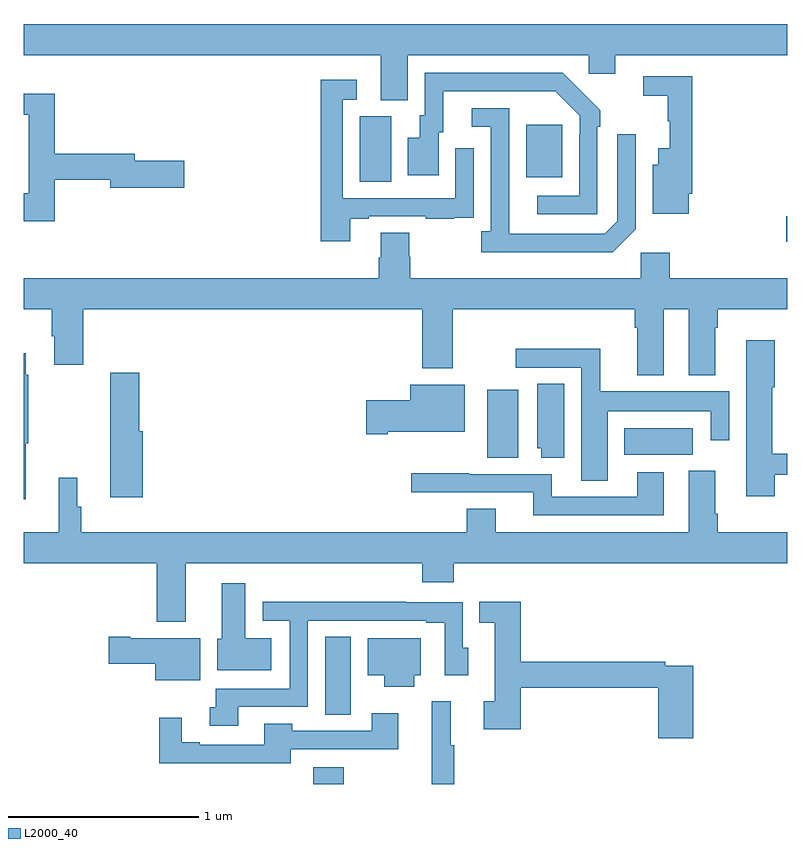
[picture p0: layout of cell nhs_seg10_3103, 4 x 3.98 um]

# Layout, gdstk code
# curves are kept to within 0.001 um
import gdstk
lib = gdstk.Library(unit=1e-6, precision=1e-09)
def R(c, l, rs):  # rectangles x0, y0, x1, y1
    for r in rs: c.add(gdstk.rectangle(r[:2], r[2:], *l))
def P(c, l, *ps):  # polygons
    for p in ps: c.add(gdstk.Polygon(p, *l))
L2000_40 = (2000, 40)

nhs_seg10_3103 = lib.new_cell('nhs_seg10_3103')
R(nhs_seg10_3103, L2000_40, [(280.517,1292.5,280.677,1292.587), (280.58,1292.863,280.714,1293.272), (281.429,1294.21,281.59,1294.567), (282.146,1294.226,282.505,1294.366), (282.996,1295.342,283,1295.477), (280.76,1295.656,280.924,1296), (281.633,1295.681,281.821,1295.956)])
P(nhs_seg10_3103, L2000_40, [(281.011,1296.32),(281.961,1296.32),(281.961,1296.222),(282.1,1296.222),(282.1,1296.32),(283,1296.32),(283,1296.484),(279,1296.484),(279,1296.32),(280.871,1296.32),(280.871,1296.085),(281.011,1296.085)],
  [(282.006,1295.945),(282.021,1295.945),(282.021,1296.033),(281.824,1296.228),(281.1,1296.228),(281.1,1296.006),(281.075,1296.006),(281.075,1295.887),(281.012,1295.887),(281.012,1295.691),(281.173,1295.691),(281.173,1295.916),(281.197,1295.916),(281.197,1296.132),(281.785,1296.132),(281.913,1296.003),(281.913,1295.903),(281.91,1295.903),(281.91,1295.583),(281.691,1295.583),(281.691,1295.487),(282.006,1295.487)],
  [(282.484,1295.593),(282.503,1295.593),(282.503,1296.21),(282.246,1296.21),(282.246,1296.109),(282.375,1296.109),(282.375,1295.973),(282.386,1295.973),(282.386,1295.833),(282.326,1295.833),(282.326,1295.746),(282.296,1295.746),(282.296,1295.489),(282.484,1295.489)],
  [(280.711,1295.463),(280.807,1295.463),(280.807,1295.475),(281.107,1295.475),(281.107,1295.463),(281.255,1295.463),(281.255,1295.469),(281.357,1295.469),(281.357,1295.578),(281.358,1295.578),(281.358,1295.833),(281.262,1295.833),(281.262,1295.571),(280.671,1295.571),(280.671,1296.087),(280.744,1296.087),(280.744,1296.193),(280.555,1296.193),(280.555,1295.346),(280.711,1295.346)],
  [(279.161,1295.668),(279.452,1295.668),(279.452,1295.626),(279.841,1295.626),(279.841,1295.768),(279.58,1295.768),(279.58,1295.804),(279.161,1295.804),(279.161,1296.119),(279,1296.119),(279,1296.009),(279.026,1296.009),(279.026,1295.598),(279,1295.598),(279,1295.45),(279.161,1295.45)],
  [(282.207,1295.409),(282.207,1295.905),(282.111,1295.905),(282.111,1295.451),(282.045,1295.385),(281.545,1295.385),(281.544,1296.042),(281.346,1296.042),(281.346,1295.946),(281.448,1295.946),(281.448,1295.398),(281.397,1295.398),(281.397,1295.288),(282.086,1295.288)],
  [(282.355,1294.988),(282.485,1294.988),(282.485,1294.643),(282.625,1294.643),(282.625,1294.892),(282.638,1294.892),(282.638,1294.988),(283,1294.988),(283,1295.152),(282.386,1295.152),(282.386,1295.284),(282.234,1295.284),(282.234,1295.152),(281.024,1295.152),(281.024,1295.265),(281.019,1295.265),(281.019,1295.39),(280.871,1295.39),(280.871,1295.258),(280.859,1295.258),(280.859,1295.152),(279,1295.152),(279,1294.988),(279.146,1294.988),(279.146,1294.846),(279.158,1294.846),(279.158,1294.698),(279.311,1294.698),(279.311,1294.988),(281.087,1294.988),(281.087,1294.679),(281.247,1294.679),(281.247,1294.988),(282.203,1294.988),(282.203,1294.892),(282.215,1294.892),(282.215,1294.643),(282.355,1294.643)],
  [(282.935,1294.122),(283,1294.122),(283,1294.23),(282.922,1294.23),(282.922,1294.579),(282.935,1294.579),(282.935,1294.825),(282.785,1294.825),(282.785,1294.008),(282.935,1294.008)],
  [(282.061,1294.454),(282.6,1294.454),(282.6,1294.302),(282.696,1294.302),(282.696,1294.558),(282.02,1294.558),(282.02,1294.781),(281.577,1294.781),(281.577,1294.683),(281.921,1294.683),(281.921,1294.09),(282.061,1294.09)],
  [(279.01,1294.287),(279.022,1294.287),(279.022,1294.646),(279.01,1294.646),(279.01,1294.759),(279,1294.759),(279,1293.992),(279.01,1293.992)],
  [(279.623,1294.35),(279.605,1294.35),(279.605,1294.657),(279.451,1294.657),(279.451,1294.35),(279.452,1294.35),(279.452,1294.002),(279.623,1294.002)],
  [(281.833,1294.598),(281.69,1294.598),(281.69,1294.26),(281.711,1294.26),(281.711,1294.21),(281.833,1294.21)],
  [(280.906,1294.346),(281.311,1294.346),(281.311,1294.594),(281.024,1294.594),(281.024,1294.512),(280.794,1294.512),(280.794,1294.334),(280.906,1294.334)],
  [(283,1293.82),(282.638,1293.82),(282.638,1293.916),(282.625,1293.916),(282.625,1294.141),(282.485,1294.141),(282.485,1293.82),(281.473,1293.82),(281.473,1293.944),(281.321,1293.944),(281.321,1293.82),(279.299,1293.82),(279.299,1293.954),(279.28,1293.954),(279.28,1294.105),(279.181,1294.105),(279.181,1293.82),(279,1293.82),(279,1293.656),(279.695,1293.656),(279.695,1293.351),(279.847,1293.351),(279.847,1293.656),(281.087,1293.656),(281.087,1293.557),(281.252,1293.557),(281.252,1293.656),(283,1293.656)],
  [(282.355,1294.135),(282.215,1294.135),(282.215,1294.005),(281.767,1294.005),(281.767,1294.125),(281.333,1294.125),(281.333,1294.128),(281.031,1294.128),(281.031,1294.029),(281.669,1294.029),(281.669,1293.909),(282.355,1293.909)],
  [(280.297,1293.265),(280.159,1293.265),(280.159,1293.553),(280.037,1293.553),(280.037,1293.261),(280.013,1293.261),(280.013,1293.095),(280.297,1293.095)],
  [(282.509,1293.12),(282.362,1293.12),(282.362,1293.14),(281.603,1293.14),(281.603,1293.455),(281.386,1293.455),(281.386,1293.345),(281.468,1293.345),(281.468,1292.934),(281.409,1292.934),(281.409,1292.786),(281.603,1292.786),(281.603,1293.004),(282.326,1293.004),(282.326,1292.739),(282.509,1292.739)],
  [(280.123,1292.904),(280.488,1292.904),(280.488,1293.357),(281.108,1293.357),(281.108,1293.345),(281.205,1293.345),(281.205,1293.069),(281.329,1293.069),(281.329,1293.213),(281.301,1293.213),(281.301,1293.453),(281.003,1293.453),(281.003,1293.455),(280.251,1293.455),(280.251,1293.357),(280.392,1293.357),(280.392,1293),(280.006,1293),(280.006,1292.903),(279.975,1292.903),(279.975,1292.805),(280.123,1292.805)],
  [(279.925,1293.265),(279.556,1293.265),(279.556,1293.273),(279.444,1293.273),(279.444,1293.131),(279.689,1293.131),(279.689,1293.044),(279.925,1293.044)],
  [(281.047,1293.071),(281.08,1293.071),(281.08,1293.265),(280.802,1293.265),(280.802,1293.071),(280.889,1293.071),(280.889,1293.011),(281.047,1293.011)],
  [(281.255,1292.703),(281.236,1292.703),(281.236,1292.935),(281.138,1292.935),(281.138,1292.5),(281.255,1292.5)],
  [(280.399,1292.682),(280.963,1292.682),(280.963,1292.872),(280.823,1292.872),(280.823,1292.778),(280.407,1292.778),(280.407,1292.815),(280.259,1292.815),(280.259,1292.706),(279.922,1292.706),(279.922,1292.719),(279.826,1292.719),(279.826,1292.848),(279.709,1292.848),(279.709,1292.61),(280.399,1292.61)])

lib.write_gds('nhs_seg10_3103.gds')
